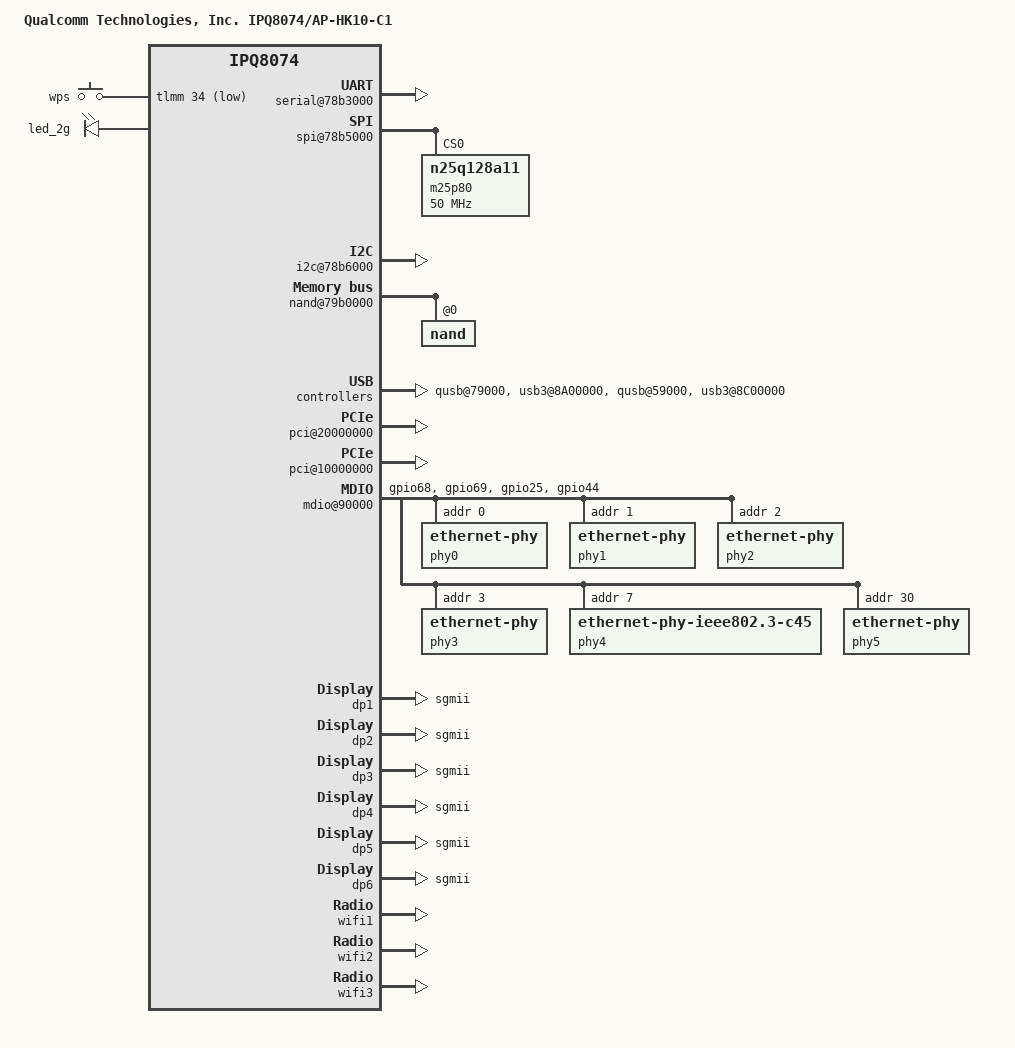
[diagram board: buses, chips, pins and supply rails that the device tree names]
// SPDX-License-Identifier: GPL-2.0-only
/dts-v1/;
/* Copyright (c) 2020 The Linux Foundation. All rights reserved.
 */
#include "ipq8074.dtsi"
#include "ipq8074-hk-cpu.dtsi"

/ {
	#address-cells = <0x2>;
	#size-cells = <0x2>;
	model = "Qualcomm Technologies, Inc. IPQ8074/AP-HK10-C1";
	compatible = "qcom,ipq8074-ap-hk10-c1", "qcom,ipq8074-ap-hk10", "qcom,ipq8074";
	qcom,msm-id = <0x143 0x0>, <0x186 0x0>;
	interrupt-parent = <&intc>;

	aliases {
		serial0 = &blsp1_uart5;
		/* Aliases as required by u-boot to patch MAC addresses */
		ethernet0 = "/soc/dp1";
		ethernet1 = "/soc/dp2";
		ethernet2 = "/soc/dp3";
		ethernet3 = "/soc/dp4";
		ethernet4 = "/soc/dp5";
		ethernet5 = "/soc/dp6";
	};

	chosen {
		stdout-path = "serial0";
	};

	reserved-memory {
/* No Pine attach in 256M profile */
#if !defined(__IPQ_MEM_PROFILE_256_MB__)
#ifdef __IPQ_MEM_PROFILE_512_MB__
	/*                      512 MB Profile
	 * +========+==============+=========================+
	 * | Region | Start Offset |          Size           |
	 * +--------+--------------+-------------------------+
	 * |  NSS   |  0x40000000  |          16MB           |
	 * +--------+--------------+-------------------------+
	 * | Linux  |  0x41000000  | Depends on total memory |
	 * +--------+--------------+-------------------------+
	 * | TZ APP |  0x4A400000  |           1MB           |
	 * +--------+--------------+-------------------------+
	 * | uboot  |  0x4A600000  |           4MB           |
	 * +--------+--------------+-------------------------+
	 * |  SBL   |  0x4AA00000  |           1MB           |
	 * +--------+--------------+-------------------------+
	 * |  smem  |  0x4AB00000  |           1MB           |
	 * +--------+--------------+-------------------------+
	 * |   TZ   |  0x4AC00000  |           4MB           |
	 * +--------+--------------+-------------------------+
	 * |   Q6   |  0x4B000000  |          55MB           |
	 * +--------+--------------+-------------------------+
	 * |  QDSS  |  0x4E700000  |           1MB           |
	 * +--------+--------------+-------------------------+
	 * | M3 Dump|  0x4E800000  |           1MB           |
	 * +--------+--------------+-------------------------+
	 * |  Pine0 |  0x4E900000  |          38MB           |
	 * +--------+--------------+-------------------------+
	 * |  Pine1 |  0x50F00000  |          38MB           |
	 * +--------+--------------+-------------------------+
	 * |  MHI0  |  0x53500000  |          16MB           |
	 * +--------+--------------+-------------------------+
	 * |  MHI1  |  0x54500000  |          16MB           |
	 * +--------+--------------+-------------------------+
	 * |                                                 |
	 * |          Rest of the memory for Linux           |
	 * |                                                 |
	 * +=================================================+
	 */
		qcn9000_pcie0: qcn9000_pcie0@4e900000 {
			no-map;
			reg = <0x0 0x4E900000 0x0 0x02600000>;
		};

		qcn9000_pcie1: qcn9000_pcie1@50F00000 {
			no-map;
			reg = <0x0 0x50F00000 0x0 0x02600000>;
		};

		mhi_region0: dma_pool0@53500000 {
			compatible = "shared-dma-pool";
			no-map;
			reg = <0x0 0x53500000 0x0 0x01000000>;
		};

		mhi_region1: dma_pool1@54500000 {
			compatible = "shared-dma-pool";
			no-map;
			reg = <0x0 0x54500000 0x0 0x01000000>;
		};
#else
	/*                   Default Profile
	 * +========+==============+=========================+
	 * | Region | Start Offset |          Size           |
	 * +--------+--------------+-------------------------+
	 * |  NSS   |  0x40000000  |          16MB           |
	 * +--------+--------------+-------------------------+
	 * | Linux  |  0x41000000  | Depends on total memory |
	 * +--------+--------------+-------------------------+
	 * | TZ APP |  0x4A400000  |           2MB           |
	 * +--------+--------------+-------------------------+
	 * | uboot  |  0x4A600000  |           4MB           |
	 * +--------+--------------+-------------------------+
	 * |  SBL   |  0x4AA00000  |           1MB           |
	 * +--------+--------------+-------------------------+
	 * |  smem  |  0x4AB00000  |           1MB           |
	 * +--------+--------------+-------------------------+
	 * |   TZ   |  0x4AC00000  |           4MB           |
	 * +--------+--------------+-------------------------+
	 * |   Q6   |  0x4B000000  |          95MB           |
	 * +--------+--------------+-------------------------+
	 * |  QDSS  |  0x50F00000  |           1MB           |
	 * +--------+--------------+-------------------------+
	 * | M3 Dump|  0x51000000  |           1MB           |
	 * +--------+--------------+-------------------------+
	 * |  Pine0 |  0x51100000  |          53MB           |
	 * +--------+--------------+-------------------------+
	 * |  Pine1 |  0x54600000  |          53MB           |
	 * +--------+--------------+-------------------------+
	 * |  MHI0  |  0x57B00000  |          16MB           |
	 * +--------+--------------+-------------------------+
	 * |  MHI1  |  0x58B00000  |          16MB           |
	 * +--------+--------------+-------------------------+
	 * |                                                 |
	 * |          Rest of the memory for Linux           |
	 * |                                                 |
	 * +=================================================+
	 */
		qcn9000_pcie0: qcn9000_pcie0@51100000 {
			no-map;
			reg = <0x0 0x51100000 0x0 0x03500000>;
		};

		qcn9000_pcie1: qcn9000_pcie1@54600000 {
			no-map;
			reg = <0x0 0x54600000 0x0 0x03500000>;
		};

		mhi_region0: dma_pool0@57b00000 {
			compatible = "shared-dma-pool";
			no-map;
			reg = <0x0 0x57B00000 0x0 0x01000000>;
		};

		mhi_region1: dma_pool1@58B00000 {
			compatible = "shared-dma-pool";
			no-map;
			reg = <0x0 0x58B00000 0x0 0x01000000>;
		};
#endif
#endif
	};

	soc {
		pinctrl@1000000 {
			button_pins: button_pins {
				wps_button {
					pins = "gpio34";
					function = "gpio";
					drive-strength = <8>;
					bias-pull-up;
				};
			};

			usb_mux_sel_pins: usb_mux_pins {
				mux {
					pins = "gpio27";
					function = "gpio";
					drive-strength = <8>;
					bias-pull-down;
				};
			};

			pcie0_pins: pcie_pins {
				pcie0_rst {
					pins = "gpio58";
					function = "pcie0_rst";
					drive-strength = <8>;
					bias-pull-down;
				};
				pcie0_wake {
					pins = "gpio59";
					function = "pcie0_wake";
					drive-strength = <8>;
					bias-pull-down;
				};
			};

			mdio_pins: mdio_pinmux {
				mux_0 {
					pins = "gpio68";
					function = "mdc";
					drive-strength = <8>;
					bias-pull-up;
				};
				mux_1 {
					pins = "gpio69";
					function = "mdio";
					drive-strength = <8>;
					bias-pull-up;
				};
				mux_2 {
					pins = "gpio25";
					function = "gpio";
					bias-pull-up;
				};
				mux_3 {
					pins = "gpio44";
					function = "gpio";
					bias-pull-up;
				};
			};

			uniphy_pins: uniphy_pinmux {
				mux1 {
					pins = "gpio27";
					function = "gpio";
					drive-strength = <16>;
					output-high;
					bias-pull-up;
				};
				mux2 {
					pins = "gpio60";
					function = "rx2";
					bias-disable;
				};
				sfp_tx {
					pins = "gpio59";
					function = "gpio";
					drive-strength = <8>;
					bias-pull-down;
					output-low;
				};
			};

			led_pins: led_pins {
				led_2g {
					pins = "gpio18";
					function = "gpio";
					drive-strength = <8>;
					bias-pull-down;
				};
			};
		};

		serial@78b3000 {
			status = "ok";
		};

		spi@78b5000 {
			status = "ok";
			pinctrl-0 = <&spi_0_pins>;
			pinctrl-names = "default";
			cs-select = <0>;

			m25p80@0 {
				  compatible = "n25q128a11";
				  #address-cells = <1>;
				  #size-cells = <1>;
				  reg = <0>;
				  spi-max-frequency = <50000000>;
			};
		};

		dma@7984000 {
			 status = "ok";
		};

		i2c@78b6000 {
			status = "ok";
		};

		nand@79b0000 {
			status = "ok";

			nand@0 {
				reg = <0>;
				#address-cells = <1>;
				#size-cells = <1>;

				nand-ecc-strength = <4>;
				nand-ecc-step-size = <512>;
				nand-bus-width = <8>;
			};
		};

		qusb@79000 {
			status = "ok";
		};

		ssphy@78000 {
			status = "ok";
		};

		usb3@8A00000 {
			status = "ok";
		};

		qusb@59000 {
			status = "ok";
		};

		ssphy@58000 {
			status = "ok";
		};

		usb3@8C00000 {
			status = "ok";
		};

		qcom,test@0 {
			status = "ok";
		};

		phy@84000 {
			status = "ok";
		};

		phy@86000 {
			status = "ok";
		};

		pci@20000000 {
			perst-gpio = <&tlmm 58 1>;
			status = "ok";

			pcie0_rp {
				reg = <0 0 0 0 0>;

				qcom,mhi@0 {
					reg = <0 0 0 0 0>;
					qrtr_instance_id = <0x20>;
#if !defined(__IPQ_MEM_PROFILE_256_MB__)
					memory-region = <&mhi_region0>;
#endif
				};
			};
		};

		phy@8e000 {
			status = "ok";
		};

		pci@10000000 {
			perst-gpio = <&tlmm 61 0x1>;
			status = "ok";

			pcie1_rp {
				reg = <0 0 0 0 0>;

				qcom,mhi@1 {
					reg = <0 0 0 0 0>;
					qrtr_instance_id = <0x21>;
#if !defined(__IPQ_MEM_PROFILE_256_MB__)
					memory-region = <&mhi_region1>;
#endif
				};
			};
		};

		mdio@90000 {
			pinctrl-0 = <&mdio_pins>;
			pinctrl-names = "default";
			phy-reset-gpio = <&tlmm 37 0>;
			phy0: ethernet-phy@0 {
				reg = <0>;
			};
			phy1: ethernet-phy@1 {
				reg = <1>;
			};
			phy2: ethernet-phy@2 {
				reg = <2>;
			};
			phy3: ethernet-phy@3 {
				reg = <3>;
			};
			phy4: ethernet-phy@4 {
				compatible ="ethernet-phy-ieee802.3-c45";
				reg = <7>;
			};
			phy5: ethernet-phy@5 {
				reg = <30>;
			};
		};

		ess-switch@3a000000 {
			pinctrl-0 = <&uniphy_pins>;
			pinctrl-names = "default";
			switch_cpu_bmp = <0x1>;  /* cpu port bitmap */
			switch_lan_bmp = <0x3e>; /* lan port bitmap */
			switch_wan_bmp = <0x40>; /* wan port bitmap */
			switch_mac_mode = <0x0>; /* mac mode for uniphy instance0*/
			switch_mac_mode1 = <0xd>; /* mac mode for uniphy instance1*/
			switch_mac_mode2 = <0xe>; /* mac mode for uniphy instance2*/
			bm_tick_mode = <0>; /* bm tick mode */
			tm_tick_mode = <0>; /* tm tick mode */
			qcom,port_phyinfo {
				port@0 {
					port_id = <1>;
					phy_address = <0>;
				};
				port@1 {
					port_id = <2>;
					phy_address = <1>;
				};
				port@2 {
					port_id = <3>;
					phy_address = <2>;
				};
				port@3 {
					port_id = <4>;
					phy_address = <3>;
				};
				port@4 {
					port_id = <5>;
					phy_address = <7>;
					ethernet-phy-ieee802.3-c45;
				};
				port@5 {
					port_id = <6>;
					phy_address = <30>;
					phy_i2c_address = <30>;
					phy-i2c-mode; /*i2c access phy */
					media-type = "sfp"; /* fiber mode */
				};
			};
			port_scheduler_resource {
				port@0 {
					port_id = <0>;
					ucast_queue = <0 143>;
					mcast_queue = <256 271>;
					l0sp = <0 35>;
					l0cdrr = <0 47>;
					l0edrr = <0 47>;
					l1cdrr = <0 7>;
					l1edrr = <0 7>;
				};
				port@1 {
					port_id = <1>;
					ucast_queue = <144 159>;
					mcast_queue = <272 275>;
					l0sp = <36 39>;
					l0cdrr = <48 63>;
					l0edrr = <48 63>;
					l1cdrr = <8 11>;
					l1edrr = <8 11>;
				};
				port@2 {
					port_id = <2>;
					ucast_queue = <160 175>;
					mcast_queue = <276 279>;
					l0sp = <40 43>;
					l0cdrr = <64 79>;
					l0edrr = <64 79>;
					l1cdrr = <12 15>;
					l1edrr = <12 15>;
				};
				port@3 {
					port_id = <3>;
					ucast_queue = <176 191>;
					mcast_queue = <280 283>;
					l0sp = <44 47>;
					l0cdrr = <80 95>;
					l0edrr = <80 95>;
					l1cdrr = <16 19>;
					l1edrr = <16 19>;
				};
				port@4 {
					port_id = <4>;
					ucast_queue = <192 207>;
					mcast_queue = <284 287>;
					l0sp = <48 51>;
					l0cdrr = <96 111>;
					l0edrr = <96 111>;
					l1cdrr = <20 23>;
					l1edrr = <20 23>;
				};
				port@5 {
					port_id = <5>;
					ucast_queue = <208 223>;
					mcast_queue = <288 291>;
					l0sp = <52 55>;
					l0cdrr = <112 127>;
					l0edrr = <112 127>;
					l1cdrr = <24 27>;
					l1edrr = <24 27>;
				};
				port@6 {
					port_id = <6>;
					ucast_queue = <224 239>;
					mcast_queue = <292 295>;
					l0sp = <56 59>;
					l0cdrr = <128 143>;
					l0edrr = <128 143>;
					l1cdrr = <28 31>;
					l1edrr = <28 31>;
				};
				port@7 {
					port_id = <7>;
					ucast_queue = <240 255>;
					mcast_queue = <296 299>;
					l0sp = <60 63>;
					l0cdrr = <144 159>;
					l0edrr = <144 159>;
					l1cdrr = <32 35>;
					l1edrr = <32 35>;
				};
			};
			port_scheduler_config {
				port@0 {
					port_id = <0>;
					l1scheduler {
						group@0 {
							sp = <0 1>; /*L0 SPs*/
							/*cpri cdrr epri edrr*/
							cfg = <0 0 0 0>;
						};
					};
					l0scheduler {
						group@0 {
							/*unicast queues*/
							ucast_queue = <0 4 8>;
							/*multicast queues*/
							mcast_queue = <256 260>;
							/*sp cpri cdrr epri edrr*/
							cfg = <0 0 0 0 0>;
						};
						group@1 {
							ucast_queue = <1 5 9>;
							mcast_queue = <257 261>;
							cfg = <0 1 1 1 1>;
						};
						group@2 {
							ucast_queue = <2 6 10>;
							mcast_queue = <258 262>;
							cfg = <0 2 2 2 2>;
						};
						group@3 {
							ucast_queue = <3 7 11>;
							mcast_queue = <259 263>;
							cfg = <0 3 3 3 3>;
						};
					};
				};
				port@1 {
					port_id = <1>;
					l1scheduler {
						group@0 {
							sp = <36>;
							cfg = <0 8 0 8>;
						};
						group@1 {
							sp = <37>;
							cfg = <1 9 1 9>;
						};
					};
					l0scheduler {
						group@0 {
							ucast_queue = <144>;
							ucast_loop_pri = <16>;
							mcast_queue = <272>;
							mcast_loop_pri = <4>;
							cfg = <36 0 48 0 48>;
						};
					};
				};
				port@2 {
					port_id = <2>;
					l1scheduler {
						group@0 {
							sp = <40>;
							cfg = <0 12 0 12>;
						};
						group@1 {
							sp = <41>;
							cfg = <1 13 1 13>;
						};
					};
					l0scheduler {
						group@0 {
							ucast_queue = <160>;
							ucast_loop_pri = <16>;
							mcast_queue = <276>;
							mcast_loop_pri = <4>;
							cfg = <40 0 64 0 64>;
						};
					};
				};
				port@3 {
					port_id = <3>;
					l1scheduler {
						group@0 {
							sp = <44>;
							cfg = <0 16 0 16>;
						};
						group@1 {
							sp = <45>;
							cfg = <1 17 1 17>;
						};
					};
					l0scheduler {
						group@0 {
							ucast_queue = <176>;
							ucast_loop_pri = <16>;
							mcast_queue = <280>;
							mcast_loop_pri = <4>;
							cfg = <44 0 80 0 80>;
						};
					};
				};
				port@4 {
					port_id = <4>;
					l1scheduler {
						group@0 {
							sp = <48>;
							cfg = <0 20 0 20>;
						};
						group@1 {
							sp = <49>;
							cfg = <1 21 1 21>;
						};
					};
					l0scheduler {
						group@0 {
							ucast_queue = <192>;
							ucast_loop_pri = <16>;
							mcast_queue = <284>;
							mcast_loop_pri = <4>;
							cfg = <48 0 96 0 96>;
						};
					};
				};
				port@5 {
					port_id = <5>;
					l1scheduler {
						group@0 {
							sp = <52>;
							cfg = <0 24 0 24>;
						};
						group@1 {
							sp = <53>;
							cfg = <1 25 1 25>;
						};
					};
					l0scheduler {
						group@0 {
							ucast_queue = <208>;
							ucast_loop_pri = <16>;
							mcast_queue = <288>;
							mcast_loop_pri = <4>;
							cfg = <52 0 112 0 112>;
						};
					};
				};
				port@6 {
					port_id = <6>;
					l1scheduler {
						group@0 {
							sp = <56>;
							cfg = <0 28 0 28>;
						};
						group@1 {
							sp = <57>;
							cfg = <1 29 1 29>;
						};
					};
					l0scheduler {
						group@0 {
							ucast_queue = <224>;
							ucast_loop_pri = <16>;
							mcast_queue = <292>;
							mcast_loop_pri = <4>;
							cfg = <56 0 128 0 128>;
						};
					};
				};
				port@7 {
					port_id = <7>;
					l1scheduler {
						group@0 {
							sp = <60>;
							cfg = <0 32 0 32>;
						};
						group@1 {
							sp = <61>;
							cfg = <1 33 1 33>;
						};
					};
					l0scheduler {
						group@0 {
							ucast_queue = <240>;
							ucast_loop_pri = <16>;
							mcast_queue = <296>;
							cfg = <60 0 144 0 144>;
						};
					};
				};
			};
		};

		gpio_keys {
			compatible = "gpio-keys";
			pinctrl-0 = <&button_pins>;
			pinctrl-names = "default";
			status = "ok";

			button@1 {
				label = "wps";
				linux,code = <KEY_WPS_BUTTON>;
				gpios = <&tlmm 34 GPIO_ACTIVE_LOW>;
				linux,input-type = <1>;
				debounce-interval = <60>;
			};
		};

		leds {
			compatible = "gpio-leds";
			pinctrl-0 = <&led_pins>;
			pinctrl-names = "default";

			led_2g {
				label = "led_2g";
				gpio = <&tlmm 18 GPIO_ACTIVE_HIGH>;
				default-state = "off";
			};
		};

		dp1 {
			device_type = "network";
			compatible = "qcom,nss-dp";
			qcom,id = <1>;
			reg = <0x3a001000 0x200>;
			qcom,mactype = <0>;
			local-mac-address = [000000000000];
			qcom,link-poll = <1>;
			qcom,phy-mdio-addr = <0>;
			phy-mode = "sgmii";
		};

		dp2 {
			device_type = "network";
			compatible = "qcom,nss-dp";
			qcom,id = <2>;
			reg = <0x3a001200 0x200>;
			qcom,mactype = <0>;
			local-mac-address = [000000000000];
			qcom,link-poll = <1>;
			qcom,phy-mdio-addr = <1>;
			phy-mode = "sgmii";
		};

		dp3 {
			device_type = "network";
			compatible = "qcom,nss-dp";
			qcom,id = <3>;
			reg = <0x3a001400 0x200>;
			qcom,mactype = <0>;
			local-mac-address = [000000000000];
			qcom,link-poll = <1>;
			qcom,phy-mdio-addr = <2>;
			phy-mode = "sgmii";
		};

		dp4 {
			device_type = "network";
			compatible = "qcom,nss-dp";
			qcom,id = <4>;
			reg = <0x3a001600 0x200>;
			qcom,mactype = <0>;
			local-mac-address = [000000000000];
			qcom,link-poll = <1>;
			qcom,phy-mdio-addr = <3>;
			phy-mode = "sgmii";
		};

		dp5 {
			device_type = "network";
			compatible = "qcom,nss-dp";
			qcom,id = <5>;
			reg = <0x3a003000 0x3fff>;
			qcom,mactype = <1>;
			local-mac-address = [000000000000];
			qcom,link-poll = <1>;
			qcom,phy-mdio-addr = <7>;
			phy-mode = "sgmii";
		};

		dp6 {
			device_type = "network";
			compatible = "qcom,nss-dp";
			qcom,id = <6>;
			reg = <0x3a007000 0x3fff>;
			qcom,mactype = <1>;
			local-mac-address = [000000000000];
			qcom,link-poll = <1>;
			qcom,phy-mdio-addr = <30>;
			phy-mode = "sgmii";
		};
	};
};

&wifi0 {
	/delete-property/ mem-region;
	status = "disabled";
};

&wifi1 {
	/* hw-mode id 7 belongs to PHYB2G mode
	 */
	wlan-hw-mode =  <7>;
	qcom,board_id = <0x216>;
	status = "ok";
};

&wifi2 {
#if !defined(__IPQ_MEM_PROFILE_256_MB__)
#ifdef __IPQ_MEM_PROFILE_512_MB__
      /* QCN9000 tgt-mem-mode=1 layout - 30MB
       * +=========+==============+=========+
       * |  Region | Start Offset |   Size  |
       * +---------+--------------+---------+
       * | HREMOTE |  0x4E900000  |   20MB  |
       * +---------+--------------+---------+
       * | M3 Dump |  0x4FD00000  |   1MB   |
       * +---------+--------------+---------+
       * |   ETR   |  0x4FE00000  |   1MB   |
       * +---------+--------------+---------+
       * |  Caldb  |  0x4FF00000  |   8MB   |
       * +---------+--------------+---------+
       * | Pageable|  0x50700000  |   8MB   |
       * +==================================+
       */
	base-addr = <0x4E900000>;
	m3-dump-addr = <0x4FD00000>;
	etr-addr = <0x4FE00000>;
	caldb-addr = <0x4FF00000>;
	pageable-addr = <0x50700000>;
	hremote-size = <0x1400000>;
	tgt-mem-mode = <0x1>;
#else
      /* QCN9000 tgt-mem-mode=0 layout - 45MB
       * +=========+==============+=========+
       * |  Region | Start Offset |   Size  |
       * +---------+--------------+---------+
       * | HREMOTE |  0x51100000  |   35MB  |
       * +---------+--------------+---------+
       * | M3 Dump |  0x53400000  |   1MB   |
       * +---------+--------------+---------+
       * |   ETR   |  0x53500000  |   1MB   |
       * +---------+--------------+---------+
       * |  Caldb  |  0x53600000  |   8MB   |
       * +---------+--------------+---------+
       * | Pageable|  0x53E00000  |   8MB   |
       * +==================================+
       */
	base-addr = <0x51100000>;
	m3-dump-addr = <0x53400000>;
	etr-addr = <0x53500000>;
	caldb-addr = <0x53600000>;
	pageable-addr = <0x53E00000>;
	hremote-size = <0x2300000>;
	tgt-mem-mode = <0x0>;
#endif
	hremote_node = <&qcn9000_pcie0>;
	pageable-size = <0x800000>;
	caldb-size = <0x800000>;
	board_id = <0xa4>;
	status = "ok";
#endif
};

#if !defined(__IPQ_MEM_PROFILE_256_MB__)
&wifi3 {
#ifdef __IPQ_MEM_PROFILE_512_MB__
      /* QCN9000 tgt-mem-mode=1 layout - 30MB
       * +=========+==============+=========+
       * |  Region | Start Offset |   Size  |
       * +---------+--------------+---------+
       * | HREMOTE |  0x50F00000  |   20MB  |
       * +---------+--------------+---------+
       * | M3 Dump |  0x52300000  |   1MB   |
       * +---------+--------------+---------+
       * |   ETR   |  0x52400000  |   1MB   |
       * +---------+--------------+---------+
       * |  Caldb  |  0x52500000  |   8MB   |
       * +---------+--------------+---------+
       * | Pageable|  0x52D00000  |   8MB   |
       * +==================================+
       */
	base-addr = <0x50F00000>;
	m3-dump-addr = <0x52300000>;
	etr-addr = <0x52400000>;
	caldb-addr = <0x52500000>;
	pageable-addr = <0x52D00000>;
	hremote-size = <0x1400000>;
	tgt-mem-mode = <0x1>;
#else
      /* QCN9000 tgt-mem-mode=0 layout - 45MB
       * +=========+==============+=========+
       * |  Region | Start Offset |   Size  |
       * +---------+--------------+---------+
       * | HREMOTE |  0x54600000  |   35MB  |
       * +---------+--------------+---------+
       * | M3 Dump |  0x56900000  |   1MB   |
       * +---------+--------------+---------+
       * |   ETR   |  0x56A00000  |   1MB   |
       * +---------+--------------+---------+
       * |  Caldb  |  0x56B00000  |   8MB   |
       * +---------+--------------+---------+
       * | Pageable|  0x57300000  |   8MB   |
       * +==================================+
       */
	base-addr = <0x54600000>;
	m3-dump-addr = <0x56900000>;
	etr-addr = <0x56A00000>;
	caldb-addr = <0x56B00000>;
	pageable-addr = <0x57300000>;
	hremote-size = <0x2300000>;
	tgt-mem-mode = <0x0>;
#endif
	caldb-size = <0x800000>;
	hremote_node = <&qcn9000_pcie1>;
	pageable-size = <0x800000>;
	board_id = <0xa3>;
	status = "ok";
};
#endif
